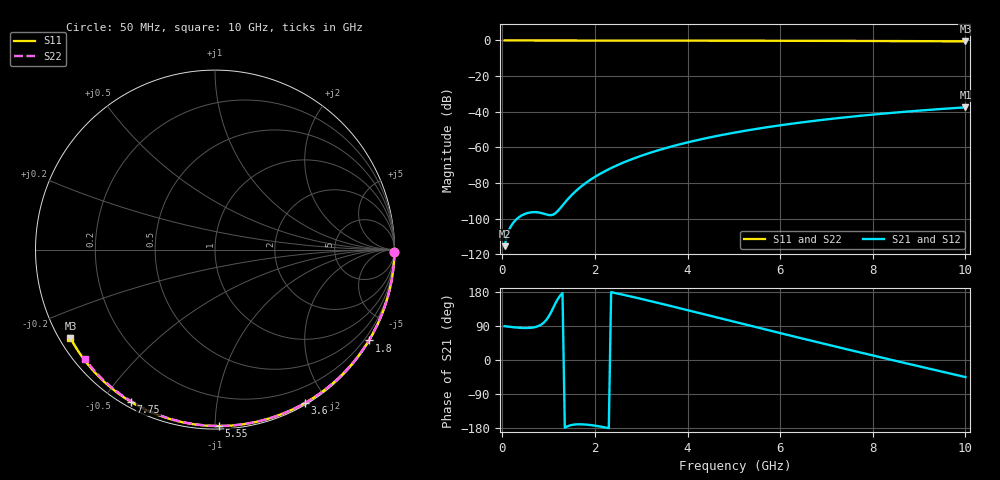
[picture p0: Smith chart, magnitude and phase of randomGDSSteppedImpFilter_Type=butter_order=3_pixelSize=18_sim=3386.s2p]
! freq	dB(S11)	phase(S11)	dB(S12)	phase(S12)
!  dB(S21)	phase(S21)	dB(S22)	phase(S22)
!S-par simulation data
#  GHz  S  DB  R 50
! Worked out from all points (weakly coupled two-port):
!   200 points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, 50 MHz to 10 GHz, reference 50 ohm
!   highest |S21| = -37.53 dB at 10 GHz (marker M1); lowest = -115.4 dB at 50 MHz (marker M2)
!   lowest |S11| = -0.5 dB at 10 GHz (marker M3), VSWR 34.71, Z = 1.55 - j14 ohm
!   |S11| at or under -10 dB: nowhere
!   |S22| runs from -0.5 to 0.0 dB; largest |S21 - S12| = 0
!   S11 on the Smith chart (normalised r, x): 50 MHz: open; 1.8 GHz: 0.03, -3.66; 3.6 GHz: 0.02, -1.75; 5.55 GHz: 0.02, -1.02; 7.75 GHz: 0.02, -0.59; 10 GHz: 0.03, -0.28
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0.05  -0.00 -0.9  -115.44 89.2  -115.44 89.2  -0.00 -0.8
0.45  -0.01 -7.8  -97.78 84.5  -97.78 84.5  -0.01 -7.3
0.9  -0.02 -15.4  -97.26 99.0  -97.26 99.0  -0.02 -14.5
1.3  -0.03 -22.2  -92.58 176.5  -92.58 176.5  -0.03 -20.8
1.75  -0.04 -29.7  -80.99 -169.9  -80.99 -169.9  -0.04 -27.9
1.8  -0.04 -30.6  -80.02 -170.4  -80.02 -170.4  -0.04 -28.7
1.95  -0.04 -33.0  -77.36 -172.4  -77.36 -172.4  -0.04 -31.0
2.1  -0.05 -35.5  -75.02 -175.3  -75.02 -175.3  -0.04 -33.4
2.3  -0.05 -38.8  -72.25 -179.8  -72.25 -179.8  -0.05 -36.5
2.5  -0.05 -42.1  -69.81 175.1  -69.81 175.1  -0.05 -39.5
2.9  -0.06 -48.5  -65.63 164.1  -65.63 164.1  -0.06 -45.6
3.4  -0.07 -56.4  -61.37 149.5  -61.37 149.5  -0.07 -53.1
3.6  -0.08 -59.6  -59.88 143.6  -59.88 143.6  -0.08 -56.0
4.3  -0.10 -70.3  -55.41 122.4  -55.41 122.4  -0.09 -66.2
5.05  -0.12 -81.5  -51.55 99.7  -51.55 99.7  -0.12 -76.7
5.55  -0.15 -88.7  -49.37 84.5  -49.37 84.5  -0.14 -83.6
6.1  -0.17 -96.5  -47.25 68.0  -47.25 68.0  -0.16 -90.9
6.7  -0.20 -104.8  -45.22 50.1  -45.22 50.1  -0.19 -98.8
7.75  -0.27 -118.9  -42.23 19.2  -42.23 19.2  -0.26 -112.2
8.35  -0.32 -126.9  -40.77 1.9  -40.77 1.9  -0.31 -119.6
9.2  -0.41 -138.1  -38.97 -22.4  -38.97 -22.4  -0.39 -130.0
10  -0.50 -148.6  -37.53 -45.0  -37.53 -45.0  -0.47 -139.8
